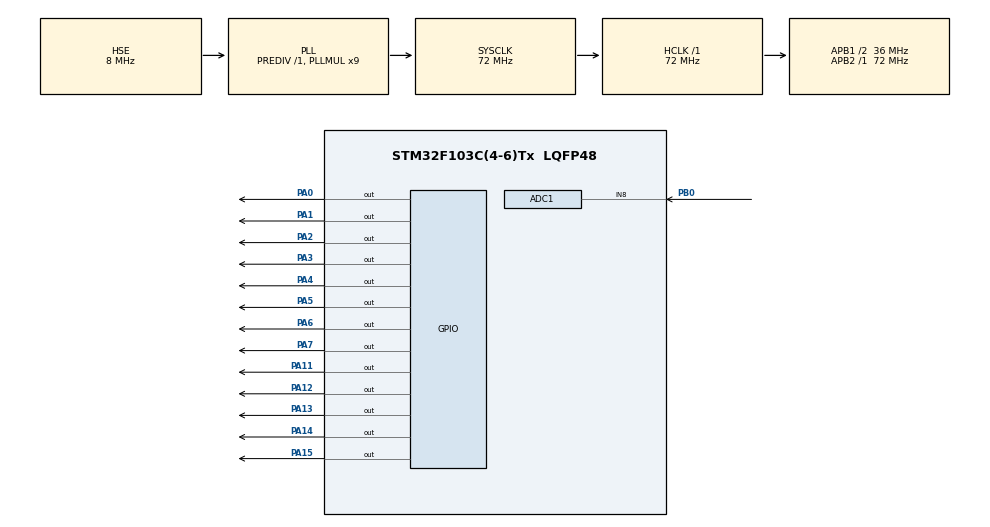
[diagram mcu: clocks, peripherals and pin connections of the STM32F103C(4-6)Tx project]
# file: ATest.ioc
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ADC1.Channel-0\#ChannelRegularConversion=ADC_CHANNEL_8
ADC1.NbrOfConversion=1
ADC1.NbrOfConversionFlag=1
ADC1.Rank-0\#ChannelRegularConversion=1
ADC1.SamplingTime-0\#ChannelRegularConversion=ADC_SAMPLETIME_239CYCLES_5
ADC1.master=1
Mcu.Family=STM32F1
Mcu.Name=STM32F103C(4-6)Tx
Mcu.Package=LQFP48
NVIC.PriorityGroup=NVIC_PRIORITYGROUP_4
PA0-WKUP.Signal=GPIO_Output
PA1.Signal=GPIO_Output
PA11.Signal=GPIO_Output
PA12.Signal=GPIO_Output
PA13.Signal=GPIO_Output
PA14.Signal=GPIO_Output
PA15.Signal=GPIO_Output
PA2.Signal=GPIO_Output
PA3.Signal=GPIO_Output
PA4.Signal=GPIO_Output
PA5.Signal=GPIO_Output
PA6.Signal=GPIO_Output
PA7.Signal=GPIO_Output
PB0.Signal=ADCx_IN8
PD0-OSC_IN.Mode=HSE-External-Oscillator
PD0-OSC_IN.Signal=RCC_OSC_IN
PD1-OSC_OUT.Mode=HSE-External-Oscillator
PD1-OSC_OUT.Signal=RCC_OSC_OUT
ProjectManager.HeapSize=0x200
ProjectManager.StackSize=0x400
ProjectManager.TargetToolchain=MDK-ARM V5
RCC.ADCPresc=RCC_ADCPCLK2_DIV6
RCC.AHBFreq_Value=72000000
RCC.APB1CLKDivider=RCC_HCLK_DIV2
RCC.APB1Freq_Value=36000000
RCC.APB1TimFreq_Value=72000000
RCC.APB2Freq_Value=72000000
RCC.APB2TimFreq_Value=72000000
RCC.HCLKFreq_Value=72000000
RCC.PLLMUL=RCC_PLL_MUL9
RCC.PLLSourceVirtual=RCC_PLLSOURCE_HSE
RCC.SYSCLKFreq_VALUE=72000000
RCC.SYSCLKSource=RCC_SYSCLKSOURCE_PLLCLK
RCC.USBFreq_Value=72000000
SH.ADCx_IN8.0=ADC1_IN8,IN8
TIM3.Period=5000
TIM3.Prescaler=72-1
VP_SYS_VS_ND.Mode=No_Debug
VP_TIM3_VS_ClockSourceINT.Mode=Internal
board=custom

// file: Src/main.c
/* USER CODE BEGIN Header */
/**
  ******************************************************************************
  * @file           : main.c
  * @brief          : Main program body
  ******************************************************************************
  * @attention
  *
  * <h2><center>&copy; Copyright (c) 2020 STMicroelectronics.
  * All rights reserved.</center></h2>
  *
  * This software component is licensed by ST under BSD 3-Clause license,
  * the "License"; You may not use this file except in compliance with the
  * License. You may obtain a copy of the License at:
  *                        opensource.org/licenses/BSD-3-Clause
  *
  ******************************************************************************
  */
/* USER CODE END Header */

#include "main.h"

/* USER CODE BEGIN Includes */
#include "stdio.h"
#include "string.h"
/* USER CODE END Includes */

ADC_HandleTypeDef hadc1;

TIM_HandleTypeDef htim3;

/* USER CODE BEGIN PV */
uint8_t const table1[] = "Teamperature:";
char buff[10];
/* USER CODE END PV */

void SystemClock_Config(void);
static void MX_GPIO_Init(void);
static void MX_ADC1_Init(void);
static void MX_TIM3_Init(void);

/* USER CODE BEGIN 0 */
void printFloat(float value){
	int tmp,tmp1;
	tmp = (int)value;
	tmp1 = (int)((value-tmp)*10)%10;
	sprintf(&buff[0],"%d.%d\r\n",tmp,tmp1);
}
void Delay_us(int us){
	unsigned short differ = 0xffff-us-5;
	__HAL_TIM_SET_COUNTER(&htim3,differ);
	HAL_TIM_Base_Start(&htim3);
	while(differ<0xffff-6)
		differ = __HAL_TIM_GET_COUNTER(&htim3);
	HAL_TIM_Base_Stop(&htim3);

}
void LcdWriteCom(uint8_t com){
	Delay_us(20) ;
	GPIOA->BSRR = 0x00ff0000;
	GPIOA->BSRR = (com) ;
	HAL_GPIO_WritePin (GPIOA,GPIO_PIN_15,GPIO_PIN_RESET) ;
	HAL_GPIO_WritePin (GPIOA,GPIO_PIN_14,GPIO_PIN_RESET) ;
	HAL_GPIO_WritePin (GPIOA,GPIO_PIN_13,GPIO_PIN_RESET) ;
	Delay_us(10) ;
	HAL_GPIO_WritePin(GPIOA,GPIO_PIN_13,GPIO_PIN_SET) ;
	Delay_us(10) ;
	HAL_GPIO_WritePin(GPIOA, GPIO_PIN_13,GPIO_PIN_RESET) ;
	Delay_us(10) ;
	Delay_us(20) ;
}
void LcdWriteDate (uint8_t date){
	Delay_us(20) ;

	GPIOA->BSRR = 0x00ff0000;

	GPIOA->BSRR = (date) ;

	HAL_GPIO_WritePin (GPIOA,GPIO_PIN_15,GPIO_PIN_SET) ;
	HAL_GPIO_WritePin (GPIOA,GPIO_PIN_14,GPIO_PIN_RESET) ;
	HAL_GPIO_WritePin (GPIOA,GPIO_PIN_13,GPIO_PIN_RESET) ;
	Delay_us (10) ;
	HAL_GPIO_WritePin (GPIOA,GPIO_PIN_13,GPIO_PIN_SET) ;
	Delay_us(10) ;
	HAL_GPIO_WritePin(GPIOA,GPIO_PIN_13,GPIO_PIN_RESET) ;
	Delay_us(10) ;
}
void LCD1602Init (void){

	uint8_t index=0;

	HAL_Delay(100) ;

	LcdWriteCom(0x38); //???16*2?????8????????cdWriteCom(0x0c); //?€???????????????

	LcdWriteCom(0x0c);
	LcdWriteCom (0x06);//?????????????€

	LcdWriteCom(0x01) ;//???

	HAL_Delay(100) ;//????€????????????LCD1602???
  LcdWriteCom(0x80);//?????????????€???

	for (index=0; index<13; index++)
		LcdWriteDate (table1 [index]); //????

}
void LCD1602WriteCommand(uint8_t comm){
		LcdWriteCom(0xc0+14);
		LcdWriteDate(comm);
}
/* USER CODE END 0 */

int main(void)
{
  /* USER CODE BEGIN 1 */
	uint16_t adc_v;
  uint8_t i;
  /* USER CODE END 1 */

  /* MCU Configuration--------------------------------------------------------*/

  /* Reset of all peripherals, Initializes the Flash interface and the Systick. */
  HAL_Init();

  /* Configure the system clock */
  SystemClock_Config();

  /* Initialize all configured peripherals */
  MX_GPIO_Init();
  MX_ADC1_Init();
  MX_TIM3_Init();
  /* USER CODE BEGIN 2 */
	HAL_ADCEx_Calibration_Start(&hadc1);
    LCD1602Init();
    HAL_Delay(10);
  /* USER CODE END 2 */

  /* Infinite loop */
  while (1)
  {

    /* USER CODE BEGIN 3 */
		HAL_GPIO_TogglePin(GPIOA,GPIO_PIN_11);
    HAL_ADC_Start(&hadc1);
    HAL_ADC_PollForConversion(&hadc1,50);
    if(HAL_IS_BIT_SET(HAL_ADC_GetState(&hadc1),HAL_ADC_STATE_REG_EOC)){
      adc_v = HAL_ADC_GetValue(&hadc1);
      printFloat((float)adc_v*128/4096);
      LcdWriteCom(0xc0);
      for(i =0;i<strlen(buff);i++){
        LcdWriteDate(buff[i]);
      }
    }
		int mypos = 38;
    if ((float)adc_v*128/4096>mypos){
      HAL_GPIO_WritePin(GPIOA,GPIO_PIN_12,GPIO_PIN_SET);
    }else
      HAL_GPIO_WritePin(GPIOA,GPIO_PIN_12,GPIO_PIN_RESET);

	HAL_Delay(500);
  }
  /* USER CODE END 3 */
}

void SystemClock_Config(void)
{
  RCC_OscInitTypeDef RCC_OscInitStruct = {0};
  RCC_ClkInitTypeDef RCC_ClkInitStruct = {0};
  RCC_PeriphCLKInitTypeDef PeriphClkInit = {0};

  /** Initializes the CPU, AHB and APB busses clocks
  */
  RCC_OscInitStruct.OscillatorType = RCC_OSCILLATORTYPE_HSE;
  RCC_OscInitStruct.HSEState = RCC_HSE_ON;
  RCC_OscInitStruct.HSEPredivValue = RCC_HSE_PREDIV_DIV1;
  RCC_OscInitStruct.HSIState = RCC_HSI_ON;
  RCC_OscInitStruct.PLL.PLLState = RCC_PLL_ON;
  RCC_OscInitStruct.PLL.PLLSource = RCC_PLLSOURCE_HSE;
  RCC_OscInitStruct.PLL.PLLMUL = RCC_PLL_MUL9;
  if (HAL_RCC_OscConfig(&RCC_OscInitStruct) != HAL_OK)
  {
    Error_Handler();
  }
  /** Initializes the CPU, AHB and APB busses clocks
  */
  RCC_ClkInitStruct.ClockType = RCC_CLOCKTYPE_HCLK|RCC_CLOCKTYPE_SYSCLK
                              |RCC_CLOCKTYPE_PCLK1|RCC_CLOCKTYPE_PCLK2;
  RCC_ClkInitStruct.SYSCLKSource = RCC_SYSCLKSOURCE_PLLCLK;
  RCC_ClkInitStruct.AHBCLKDivider = RCC_SYSCLK_DIV1;
  RCC_ClkInitStruct.APB1CLKDivider = RCC_HCLK_DIV2;
  RCC_ClkInitStruct.APB2CLKDivider = RCC_HCLK_DIV1;

  if (HAL_RCC_ClockConfig(&RCC_ClkInitStruct, FLASH_LATENCY_2) != HAL_OK)
  {
    Error_Handler();
  }
  PeriphClkInit.PeriphClockSelection = RCC_PERIPHCLK_ADC;
  PeriphClkInit.AdcClockSelection = RCC_ADCPCLK2_DIV6;
  if (HAL_RCCEx_PeriphCLKConfig(&PeriphClkInit) != HAL_OK)
  {
    Error_Handler();
  }
}

static void MX_ADC1_Init(void)
{

  ADC_ChannelConfTypeDef sConfig = {0};

  /** Common config
  */
  hadc1.Instance = ADC1;
  hadc1.Init.ScanConvMode = ADC_SCAN_DISABLE;
  hadc1.Init.ContinuousConvMode = DISABLE;
  hadc1.Init.DiscontinuousConvMode = DISABLE;
  hadc1.Init.ExternalTrigConv = ADC_SOFTWARE_START;
  hadc1.Init.DataAlign = ADC_DATAALIGN_RIGHT;
  hadc1.Init.NbrOfConversion = 1;
  if (HAL_ADC_Init(&hadc1) != HAL_OK)
  {
    Error_Handler();
  }
  /** Configure Regular Channel
  */
  sConfig.Channel = ADC_CHANNEL_8;
  sConfig.Rank = ADC_REGULAR_RANK_1;
  sConfig.SamplingTime = ADC_SAMPLETIME_239CYCLES_5;
  if (HAL_ADC_ConfigChannel(&hadc1, &sConfig) != HAL_OK)
  {
    Error_Handler();
  }

}

static void MX_TIM3_Init(void)
{

  TIM_ClockConfigTypeDef sClockSourceConfig = {0};
  TIM_MasterConfigTypeDef sMasterConfig = {0};

  htim3.Instance = TIM3;
  htim3.Init.Prescaler = 72-1;
  htim3.Init.CounterMode = TIM_COUNTERMODE_UP;
  htim3.Init.Period = 5000;
  htim3.Init.ClockDivision = TIM_CLOCKDIVISION_DIV1;
  htim3.Init.AutoReloadPreload = TIM_AUTORELOAD_PRELOAD_DISABLE;
  if (HAL_TIM_Base_Init(&htim3) != HAL_OK)
  {
    Error_Handler();
  }
  sClockSourceConfig.ClockSource = TIM_CLOCKSOURCE_INTERNAL;
  if (HAL_TIM_ConfigClockSource(&htim3, &sClockSourceConfig) != HAL_OK)
  {
    Error_Handler();
  }
  sMasterConfig.MasterOutputTrigger = TIM_TRGO_RESET;
  sMasterConfig.MasterSlaveMode = TIM_MASTERSLAVEMODE_DISABLE;
  if (HAL_TIMEx_MasterConfigSynchronization(&htim3, &sMasterConfig) != HAL_OK)
  {
    Error_Handler();
  }

}

static void MX_GPIO_Init(void)
{
  GPIO_InitTypeDef GPIO_InitStruct = {0};

  /* GPIO Ports Clock Enable */
  __HAL_RCC_GPIOD_CLK_ENABLE();
  __HAL_RCC_GPIOA_CLK_ENABLE();
  __HAL_RCC_GPIOB_CLK_ENABLE();

  /*Configure GPIO pin Output Level */
  HAL_GPIO_WritePin(GPIOA, GPIO_PIN_0|GPIO_PIN_1|GPIO_PIN_2|GPIO_PIN_3
                          |GPIO_PIN_4|GPIO_PIN_5|GPIO_PIN_6|GPIO_PIN_7
                          |GPIO_PIN_11|GPIO_PIN_12|GPIO_PIN_13|GPIO_PIN_14
                          |GPIO_PIN_15, GPIO_PIN_RESET);

  /*Configure GPIO pins : PA0 PA1 PA2 PA3
                           PA4 PA5 PA6 PA7
                           PA11 PA12 PA13 PA14
                           PA15 */
  GPIO_InitStruct.Pin = GPIO_PIN_0|GPIO_PIN_1|GPIO_PIN_2|GPIO_PIN_3
                          |GPIO_PIN_4|GPIO_PIN_5|GPIO_PIN_6|GPIO_PIN_7
                          |GPIO_PIN_11|GPIO_PIN_12|GPIO_PIN_13|GPIO_PIN_14
                          |GPIO_PIN_15;
  GPIO_InitStruct.Mode = GPIO_MODE_OUTPUT_PP;
  GPIO_InitStruct.Pull = GPIO_NOPULL;
  GPIO_InitStruct.Speed = GPIO_SPEED_FREQ_LOW;
  HAL_GPIO_Init(GPIOA, &GPIO_InitStruct);

}

void Error_Handler(void)
{
}

/************************ (C) COPYRIGHT STMicroelectronics *****END OF FILE****/
